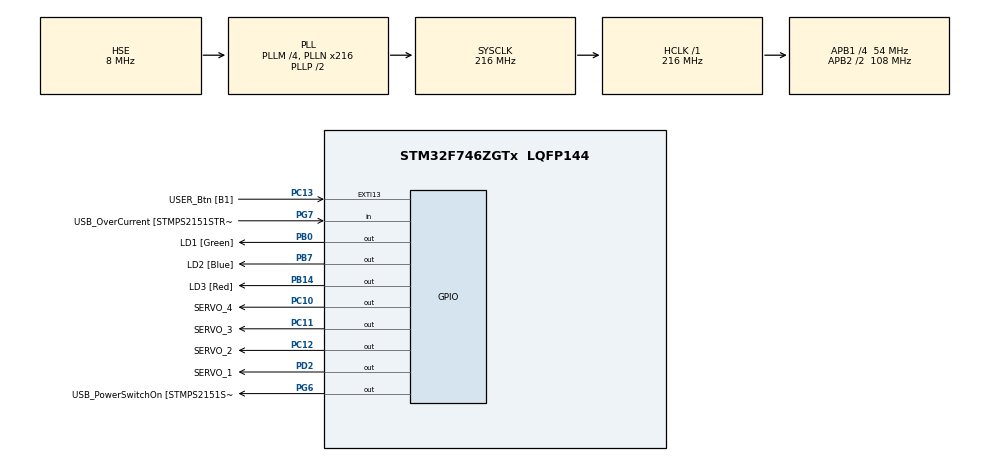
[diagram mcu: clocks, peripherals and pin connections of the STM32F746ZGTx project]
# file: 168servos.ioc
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Mcu.Family=STM32F7
Mcu.Name=STM32F746ZGTx
Mcu.Package=LQFP144
NVIC.PriorityGroup=NVIC_PRIORITYGROUP_4
NVIC.TIM6_DAC_IRQn=true\:0\:0\:false\:false\:true\:true\:true
PA1.GPIO_Label=RMII_REF_CLK [LAN8742A-CZ-TR_REFCLK0]
PA1.Signal=ETH_REF_CLK
PA10.GPIO_Label=USB_ID
PA10.Signal=USB_OTG_FS_ID
PA11.GPIO_Label=USB_DM
PA11.Signal=USB_OTG_FS_DM
PA12.GPIO_Label=USB_DP
PA12.Signal=USB_OTG_FS_DP
PA13.GPIO_Label=TMS
PA13.Mode=Serial_Wire
PA13.Signal=SYS_JTMS-SWDIO
PA14.GPIO_Label=TCK
PA14.Mode=Serial_Wire
PA14.Signal=SYS_JTCK-SWCLK
PA2.GPIO_Label=RMII_MDIO [LAN8742A-CZ-TR_MDIO]
PA2.Signal=ETH_MDIO
PA7.GPIO_Label=RMII_CRS_DV [LAN8742A-CZ-TR_CRS_DV]
PA7.Signal=ETH_CRS_DV
PA8.GPIO_Label=USB_SOF [TP1]
PA8.Signal=USB_OTG_FS_SOF
PA9.GPIO_Label=USB_VBUS
PA9.Signal=USB_OTG_FS_VBUS
PB0.GPIO_Label=LD1 [Green]
PB0.Signal=GPIO_Output
PB13.GPIO_Label=RMII_TXD1 [LAN8742A-CZ-TR_TXD1]
PB13.Signal=ETH_TXD1
PB14.GPIO_Label=LD3 [Red]
PB14.Signal=GPIO_Output
PB3.GPIO_Label=SW0
PB3.Signal=SYS_JTDO-SWO
PB7.GPIO_Label=LD2 [Blue]
PB7.Signal=GPIO_Output
PC1.GPIO_Label=RMII_MDC [LAN8742A-CZ-TR_MDC]
PC1.Signal=ETH_MDC
PC10.GPIO_Label=SERVO_4
PC10.Signal=GPIO_Output
PC11.GPIO_Label=SERVO_3
PC11.Signal=GPIO_Output
PC12.GPIO_Label=SERVO_2
PC12.Signal=GPIO_Output
PC13.GPIO_Label=USER_Btn [B1]
PC13.Signal=GPXTI13
PC14/OSC32_IN.Mode=LSE-External-Oscillator
PC14/OSC32_IN.Signal=RCC_OSC32_IN
PC15/OSC32_OUT.Mode=LSE-External-Oscillator
PC15/OSC32_OUT.Signal=RCC_OSC32_OUT
PC4.GPIO_Label=RMII_RXD0 [LAN8742A-CZ-TR_RXD0]
PC4.Signal=ETH_RXD0
PC5.GPIO_Label=RMII_RXD1 [LAN8742A-CZ-TR_RXD1]
PC5.Signal=ETH_RXD1
PD2.GPIO_Label=SERVO_1
PD2.Signal=GPIO_Output
PD8.GPIO_Label=STLK_RX [STM32F103CBT6_PA3]
PD8.Signal=USART3_TX
PD9.GPIO_Label=STLK_TX [STM32F103CBT6_PA2]
PD9.Signal=USART3_RX
PG11.GPIO_Label=RMII_TX_EN [LAN8742A-CZ-TR_TXEN]
PG11.Signal=ETH_TX_EN
PG13.GPIO_Label=RMII_TXD0 [LAN8742A-CZ-TR_TXD0]
PG13.Signal=ETH_TXD0
PG6.GPIO_Label=USB_PowerSwitchOn [STMPS2151STR_EN]
PG6.Signal=GPIO_Output
PG7.GPIO_Label=USB_OverCurrent [STMPS2151STR_FAULT]
PG7.Signal=GPIO_Input
PH0/OSC_IN.GPIO_Label=MCO [STM32F103CBT6_PA8]
PH0/OSC_IN.Mode=HSE-External-Clock-Source
PH0/OSC_IN.Signal=RCC_OSC_IN
PH1/OSC_OUT.Mode=HSE-External-Clock-Source
PH1/OSC_OUT.Signal=RCC_OSC_OUT
ProjectManager.HeapSize=0x200
ProjectManager.StackSize=0x400
ProjectManager.TargetToolchain=STM32CubeIDE
RCC.48MHZClocksFreq_Value=24000000
RCC.AHBFreq_Value=216000000
RCC.APB1CLKDivider=RCC_HCLK_DIV4
RCC.APB1Freq_Value=54000000
RCC.APB1TimFreq_Value=108000000
RCC.APB2CLKDivider=RCC_HCLK_DIV2
RCC.APB2Freq_Value=108000000
RCC.APB2TimFreq_Value=216000000
RCC.CortexFreq_Value=216000000
RCC.HCLKFreq_Value=216000000
RCC.HSE_VALUE=8000000
RCC.HSI_VALUE=16000000
RCC.PLLM=4
RCC.PLLMUL=RCC_PLL_MUL9
RCC.PLLN=216
RCC.PLLQ=9
RCC.PLLSourceVirtual=RCC_PLLSOURCE_HSE
RCC.PRESCALERUSB=RCC_USBCLKSOURCE_PLL_DIV1_5
RCC.SYSCLKFreq_VALUE=216000000
RCC.SYSCLKSource=RCC_SYSCLKSOURCE_PLLCLK
RCC.SYSCLKSourceVirtual=RCC_SYSCLKSOURCE_PLLCLK
RCC.USBFreq_Value=48000000
RCC.VCOOutputFreq_Value=432000000
TIM6.Period=999
TIM6.Prescaler=107
VP_TIM6_VS_ClockSourceINT.Mode=Enable_Timer
board=NUCLEO-F746ZG

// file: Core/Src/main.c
/* USER CODE BEGIN Header */
/**
  ******************************************************************************
  * @file           : main.c
  * @brief          : Main program body
  ******************************************************************************
  * @attention
  *
  * <h2><center>&copy; Copyright (c) 2021 STMicroelectronics.
  * All rights reserved.</center></h2>
  *
  * This software component is licensed by ST under BSD 3-Clause license,
  * the "License"; You may not use this file except in compliance with the
  * License. You may obtain a copy of the License at:
  *                        opensource.org/licenses/BSD-3-Clause
  *
  ******************************************************************************
  */
/* USER CODE END Header */
#include "main.h"
#include "tim.h"
#include "gpio.h"

/* USER CODE BEGIN Includes */
#include "servos.h"
/* USER CODE END Includes */

/* USER CODE BEGIN PV */
int bTick1ms;
/* USER CODE END PV */

void SystemClock_Config(void);

int main(void)
{

  /* MCU Configuration--------------------------------------------------------*/

  /* Reset of all peripherals, Initializes the Flash interface and the Systick. */
  HAL_Init();

  /* Configure the system clock */
  SystemClock_Config();

  /* Initialize all configured peripherals */
  MX_GPIO_Init();
  MX_TIM6_Init();
  /* USER CODE BEGIN 2 */

  SERVOS_Init();
  SERVOS_Configure(0, SERVO_1_Pin, SERVO_1_GPIO_Port);
  SERVOS_Configure(1, SERVO_2_Pin, SERVO_2_GPIO_Port);
  SERVOS_Configure(2, LD3_Pin, LD3_GPIO_Port);
  SERVOS_Configure(3, LD3_Pin, LD3_GPIO_Port);
  SERVOS_Configure(4, LD3_Pin, LD3_GPIO_Port);
  SERVOS_Configure(5, LD3_Pin, LD3_GPIO_Port);
  SERVOS_Configure(6, LD3_Pin, LD3_GPIO_Port);
  SERVOS_Configure(7, LD3_Pin, LD3_GPIO_Port);
  SERVOS_Configure(8, SERVO_3_Pin, SERVO_3_GPIO_Port);
  SERVOS_Configure(9, LD3_Pin, LD3_GPIO_Port);
  SERVOS_Configure(10, LD3_Pin, LD3_GPIO_Port);
  SERVOS_Configure(11, LD3_Pin, LD3_GPIO_Port);
  SERVOS_Configure(12, LD3_Pin, LD3_GPIO_Port);
  SERVOS_Configure(13, LD3_Pin, LD3_GPIO_Port);
  SERVOS_Configure(14, LD3_Pin, LD3_GPIO_Port);
  SERVOS_Configure(15, LD3_Pin, LD3_GPIO_Port);
  SERVOS_Configure(16, SERVO_4_Pin, SERVO_4_GPIO_Port);
  SERVOS_Configure(17, LD3_Pin, LD3_GPIO_Port);
  SERVOS_Configure(18, LD3_Pin, LD3_GPIO_Port);
  SERVOS_Configure(19, LD3_Pin, LD3_GPIO_Port);
  SERVOS_Configure(20, LD3_Pin, LD3_GPIO_Port);
  SERVOS_Configure(21, LD3_Pin, LD3_GPIO_Port);
  SERVOS_Configure(22, LD3_Pin, LD3_GPIO_Port);
  SERVOS_Configure(23, LD3_Pin, LD3_GPIO_Port);
  SERVOS_Configure(24, LD3_Pin, LD3_GPIO_Port);
  SERVOS_Set(0, 100);
  SERVOS_Set(8, 200);
  SERVOS_Set(16, 300);
  SERVOS_Set(1, 400);

  SERVOS_Set(16, 150);

  /* USER CODE END 2 */

  /* Infinite loop */
  while (1)
  {

    /* USER CODE BEGIN 3 */
	if (bTick1ms)
	{
	  bTick1ms = 0;
	  SERVOS_Task1ms();
	}
  }
  /* USER CODE END 3 */
}

void SystemClock_Config(void)
{
  RCC_OscInitTypeDef RCC_OscInitStruct = {0};
  RCC_ClkInitTypeDef RCC_ClkInitStruct = {0};

  /** Configure LSE Drive Capability
  */
  HAL_PWR_EnableBkUpAccess();
  /** Configure the main internal regulator output voltage
  */
  __HAL_RCC_PWR_CLK_ENABLE();
  __HAL_PWR_VOLTAGESCALING_CONFIG(PWR_REGULATOR_VOLTAGE_SCALE1);
  /** Initializes the RCC Oscillators according to the specified parameters
  * in the RCC_OscInitTypeDef structure.
  */
  RCC_OscInitStruct.OscillatorType = RCC_OSCILLATORTYPE_HSE;
  RCC_OscInitStruct.HSEState = RCC_HSE_BYPASS;
  RCC_OscInitStruct.PLL.PLLState = RCC_PLL_ON;
  RCC_OscInitStruct.PLL.PLLSource = RCC_PLLSOURCE_HSE;
  RCC_OscInitStruct.PLL.PLLM = 4;
  RCC_OscInitStruct.PLL.PLLN = 216;
  RCC_OscInitStruct.PLL.PLLP = RCC_PLLP_DIV2;
  RCC_OscInitStruct.PLL.PLLQ = 9;
  if (HAL_RCC_OscConfig(&RCC_OscInitStruct) != HAL_OK)
  {
    Error_Handler();
  }
  /** Activate the Over-Drive mode
  */
  if (HAL_PWREx_EnableOverDrive() != HAL_OK)
  {
    Error_Handler();
  }
  /** Initializes the CPU, AHB and APB buses clocks
  */
  RCC_ClkInitStruct.ClockType = RCC_CLOCKTYPE_HCLK|RCC_CLOCKTYPE_SYSCLK
                              |RCC_CLOCKTYPE_PCLK1|RCC_CLOCKTYPE_PCLK2;
  RCC_ClkInitStruct.SYSCLKSource = RCC_SYSCLKSOURCE_PLLCLK;
  RCC_ClkInitStruct.AHBCLKDivider = RCC_SYSCLK_DIV1;
  RCC_ClkInitStruct.APB1CLKDivider = RCC_HCLK_DIV4;
  RCC_ClkInitStruct.APB2CLKDivider = RCC_HCLK_DIV2;

  if (HAL_RCC_ClockConfig(&RCC_ClkInitStruct, FLASH_LATENCY_7) != HAL_OK)
  {
    Error_Handler();
  }
}

void Error_Handler(void)
{
  __disable_irq();
  while (1)
  {
  }
}

/************************ (C) COPYRIGHT STMicroelectronics *****END OF FILE****/
